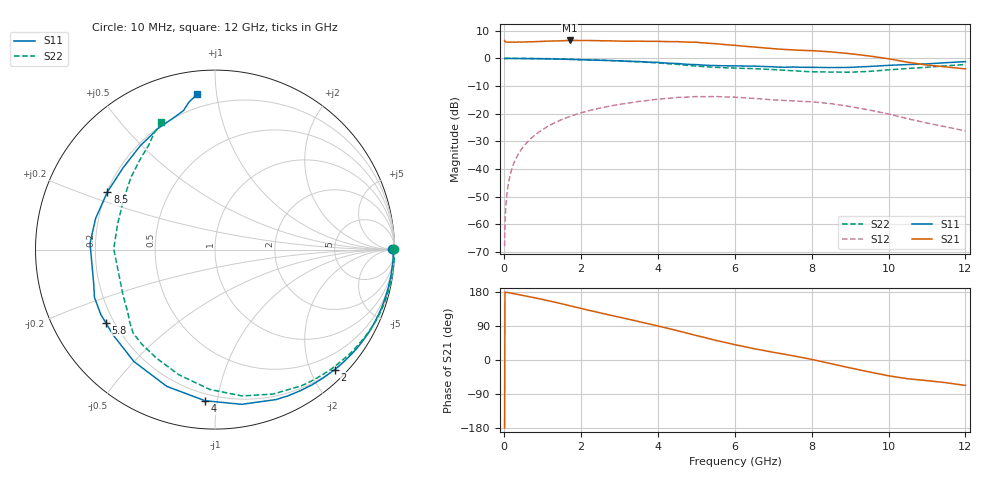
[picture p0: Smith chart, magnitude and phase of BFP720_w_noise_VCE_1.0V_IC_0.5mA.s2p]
! Infineon Technologies  Discrete & RF Semiconductors
! BFP720
! VCE =  1.0 V,  IC =  0.5 mA
! Common Emitter S-Parameters:  Aug 2012
# GHz  S  MA  R  50
!  f  S11  S21  S12  S22
! GHz  MAG  ANG  MAG  ANG  MAG  ANG  MAG  ANG
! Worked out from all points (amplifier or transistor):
!   105 points, 10 MHz to 12 GHz, reference 50 ohm
!   highest |S21| = 6.5 dB at 1.7 GHz (marker M1)
!   |S21| within 3 dB of that: start of sweep to 7.034 GHz
!   unconditionally stable (mu >= 1): start of sweep to 10.19 MHz; 9.34 GHz to 11.9 GHz
!   at 300 MHz: K = 0.00, MSG = 21.1 dB, |S12| = -36.4 dB
!   at 3.6 GHz: K = 0.25, MSG = 10.8 dB, |S12| = -15.5 dB
!   at 12 GHz: K = 0.94, MSG = 11.2 dB, |S12| = -26.3 dB
!   lowest NFmin = 0.59 dB at 450 MHz
!   S11 on the Smith chart (normalised r, x): 10 MHz: open; 2 GHz: 0.19, -2.40; 4 GHz: 0.16, -0.92; 5.8 GHz: 0.17, -0.29; 8.5 GHz: 0.20, +0.24; 12 GHz: 0.12, +0.88
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0.01  0.9885 0.1  2.092 -179.4  0.0004 8.8  0.9966 0.1
0.02  0.993 -0.3  1.988 179.3  0.001 90.1  0.9998 -0.3
0.03  0.9924 -0.5  1.98 179.1  0.0015 91.0  0.9993 -0.5
0.08  0.9926 -1.6  1.958 178.2  0.004 89.3  0.9991 -1.5
0.2  0.9929 -4.1  1.96 176.0  0.0102 87.1  0.9989 -3.6
0.3  0.9915 -6.1  1.96 174.0  0.0151 85.3  0.998 -5.4
0.8  0.9848 -16.8  2.003 164.0  0.0409 76.6  0.9927 -14.7
1.7  0.9568 -37.9  2.105 143.3  0.0883 58.6  0.9613 -32.3
2  0.945 -45.0  2.101 136.1  0.1032 52.3  0.9475 -38.3
2.1  0.9394 -47.3  2.1 133.7  0.1079 50.0  0.9417 -40.2
2.8  0.9109 -63.4  2.067 117.4  0.1389 35.6  0.9079 -53.9
4  0.8438 -93.8  2.03 89.8  0.1826 10.8  0.8292 -79.5
4.1  0.8318 -96.8  2.018 87.4  0.1848 8.5  0.816 -82.0
5  0.7699 -126.0  1.955 64.5  0.2032 -11.8  0.7254 -106.2
5.8  0.7322 -146.3  1.759 45.2  0.1999 -29.4  0.6726 -123.8
6.1  0.7287 -152.1  1.691 38.4  0.1961 -35.5  0.6627 -129.0
7  0.7024 -164.1  1.496 20.3  0.1775 -51.1  0.6257 -139.2
8  0.6876 165.4  1.377 1.6  0.1637 -66.7  0.5715 -153.8
8.5  0.6801 151.9  1.308 -9.6  0.1516 -76.7  0.5643 179.5
9.5  0.7126 125.8  1.102 -31.5  0.1162 -93.2  0.5809 151.3
10.5  0.7711 107.1  0.85 -49.5  0.0808 -103.5  0.6554 129.2
12  0.8707 96.6  0.644 -67.1  0.0485 -104.1  0.773 112.7
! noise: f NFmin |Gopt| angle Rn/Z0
0.45  0.59  0.89  6  0.89
1.8  0.89  0.79  32  0.77
2.4  1.02  0.74  86  0.57
5.5  1.58  0.61  109  0.26
10  2.85  0.65  -124  0.44
